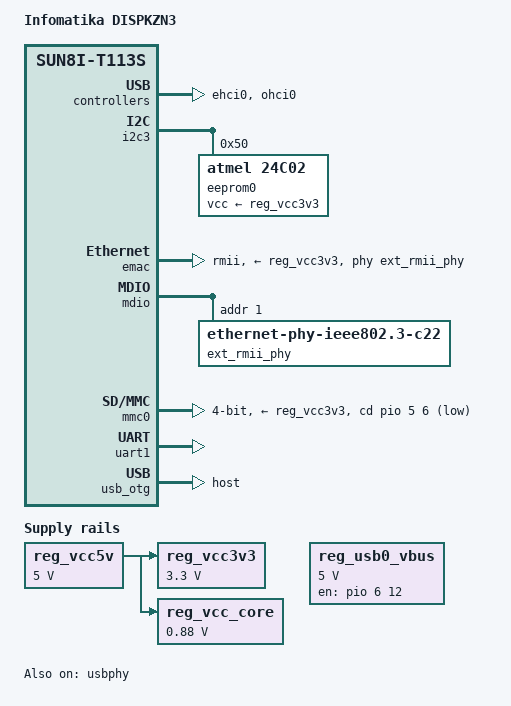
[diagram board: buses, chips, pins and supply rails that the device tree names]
// SPDX-License-Identifier: (GPL-2.0+ OR MIT)
// Copyright (C) 2022 Arm Ltd.

#include <dt-bindings/interrupt-controller/irq.h>
#include <dt-bindings/gpio/gpio.h>
#include <dt-bindings/leds/common.h>

/dts-v1/;

#include "sun8i-t113s.dtsi"
/ {
	aliases {
		serial1 = &uart1;
	};

	chosen {
		stdout-path = "serial1:115200n8";
	};

	/* board wide 5V supply from the SY8303 DC/DC regulator */
	reg_vcc5v: regulator-5v {
		compatible = "regulator-fixed";
		regulator-name = "vcc-5v";
		regulator-min-microvolt = <5000000>;
		regulator-max-microvolt = <5000000>;
		regulator-always-on;
	};

	/* SY8088 DC/DC regulator on the board */
	reg_vcc3v3: regulator-3v3 {
		compatible = "regulator-fixed";
		regulator-name = "vcc-3v3";
		regulator-min-microvolt = <3300000>;
		regulator-max-microvolt = <3300000>;
		vin-supply = <&reg_vcc5v>;
	};

	/* SY8088 DC/DC regulator on the board, also supplying VDD-SYS */
	reg_vcc_core: regulator-core {
		compatible = "regulator-fixed";
		regulator-name = "vcc-core";
		regulator-min-microvolt = <880000>;
		regulator-max-microvolt = <880000>;
		vin-supply = <&reg_vcc5v>;
	};

	reg_usb0_vbus: usb0-vbus {
		compatible = "regulator-fixed";
		regulator-name = "usb0-vbus";
		regulator-min-microvolt = <5000000>;
		regulator-max-microvolt = <5000000>;
		enable-active-high;
		gpio = <&pio 1 9 GPIO_ACTIVE_HIGH>;
		status = "disabled";
	};

	reg_usb1_vbus: usb1-vbus {
		compatible = "regulator-fixed";
		regulator-name = "usb1-vbus";
		regulator-min-microvolt = <5000000>;
		regulator-max-microvolt = <5000000>;
		regulator-boot-on;
		enable-active-high;
		gpio = <&pio 7 6 GPIO_ACTIVE_HIGH>;
		status = "disabled";
	};

};

&dcxo {
	clock-frequency = <24000000>;
};

&ehci0 {
	status = "okay";
};

&ohci0 {
	status = "okay";
};

&i2c3 {
	pinctrl-0 = <&i2c3_pb_pins>;
	pinctrl-names = "default";
	status = "okay";

	eeprom0: eeprom@50 {
		compatible = "atmel,24c02";		/* actually it's a 24AA02E48 */
		reg = <0x50>;
		pagesize = <16>;
		read-only;
		vcc-supply = <&reg_vcc3v3>;

		#address-cells = <1>;
		#size-cells = <1>;

		eth0_macaddress: macaddress@fa {
			reg = <0xfa 0x06>;
		};
	};
};

&emac {
	nvmem-cells = <&eth0_macaddress>;
	nvmem-cell-names = "mac-address";
	pinctrl-0 = <&rmii_pe_pins>;
	pinctrl-names = "default";
	phy-handle = <&ext_rmii_phy>;
	phy-mode = "rmii";
	phy-supply = <&reg_vcc3v3>;
	status = "okay";
};

&mdio {
	ext_rmii_phy: ethernet-phy@1 {
		compatible = "ethernet-phy-ieee802.3-c22";
		reg = <1>;
	};
};

&mmc0 {
	pinctrl-0 = <&mmc0_pins>;
	pinctrl-names = "default";
	vmmc-supply = <&reg_vcc3v3>;
	cd-gpios = <&pio 5 6 GPIO_ACTIVE_LOW>;/* PF6 */
	disable-wp;
	bus-width = <4>;
	status = "okay";
};

&pio {
	vcc-pb-supply = <&reg_vcc3v3>;
	vcc-pd-supply = <&reg_vcc3v3>;
	vcc-pe-supply = <&reg_vcc3v3>;
	vcc-pf-supply = <&reg_vcc3v3>;
	vcc-pg-supply = <&reg_vcc3v3>;
};

&uart1 {
	pinctrl-names = "default";
	pinctrl-0 = <&uart1_pe_pins>;
	status = "okay";
};

&usb_otg {
	dr_mode = "host";
	status = "okay";
};

&reg_usb0_vbus {
	gpio = <&pio 6 12 GPIO_ACTIVE_HIGH>; /* PG12 */
	status = "okay";
};

&usbphy {
	usb0_vbus-supply = <&reg_usb0_vbus>;
	status = "okay";
};

/ {
	model = "Infomatika DISPKZN3";
	compatible = "infomat,dispkzn3", "allwinner,sun8i-t113s";
};

&cpu0 {
	cpu-supply = <&reg_vcc_core>;
};

&cpu1 {
	cpu-supply = <&reg_vcc_core>;
};

